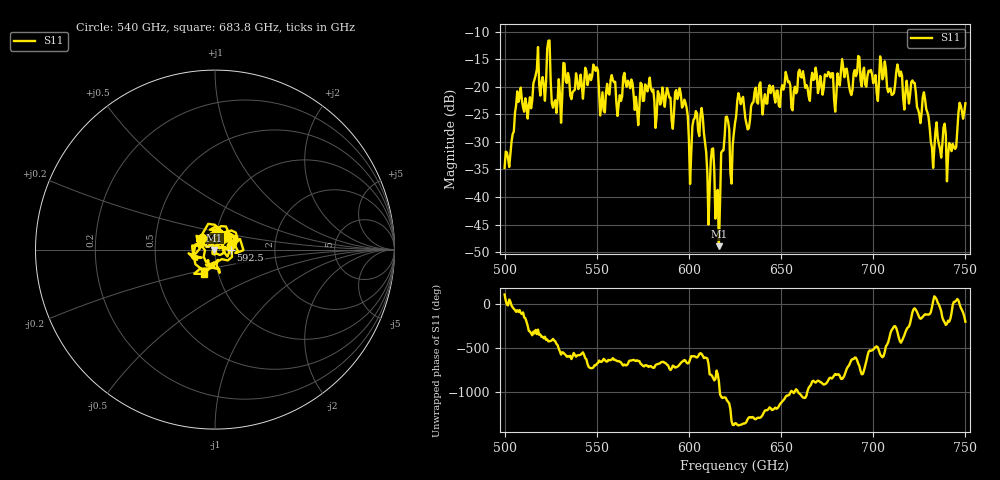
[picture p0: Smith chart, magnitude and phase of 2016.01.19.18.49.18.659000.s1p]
!Created with skrf (http://scikit-rf.org).
# GHz S RI R 50.0
!freq ReS11 ImS11
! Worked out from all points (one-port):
!   401 points, 500 GHz to 750 GHz, reference 50 ohm
!   lowest |S11| = -48.9 dB at 616.2 GHz (marker M1), VSWR 1.01, Z = 49.7 - j0.146 ohm
!   |S11| at or under -10 dB: start of sweep to end of sweep
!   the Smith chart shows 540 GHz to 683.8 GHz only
!   S11 on the Smith chart (normalised r, x): 540 GHz: 0.86, +0.11; 592.5 GHz: 1.19, -0.01; 683.8 GHz: 0.86, -0.24
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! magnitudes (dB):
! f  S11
! 500 GHz  -34.7
! 507.5 GHz  -22.8
! 513.8 GHz  -21.9
! 516.9 GHz  -17.9
! 531.2 GHz  -22.0
! 540 GHz  -20.4
! 562.5 GHz  -21.5
! 565.6 GHz  -19.3
! 571.9 GHz  -24.1
! 577.5 GHz  -20.9
! 592.5 GHz  -21.0
! 593.8 GHz  -22.2
! 600.6 GHz  -37.6
! 607.5 GHz  -25.5
! 610 GHz  -35.8
! 616.2 GHz  -48.9
! 620 GHz  -25.5
! 623.1 GHz  -37.6
! 625 GHz  -26.6
! 628.1 GHz  -23.2
! 631.9 GHz  -27.8
! 656.2 GHz  -24.3
! 683.8 GHz  -16.6
! 687.5 GHz  -20.9
! 705 GHz  -18.7
! 718.8 GHz  -21.1
! 741.2 GHz  -30.2
! 750 GHz  -23.0
